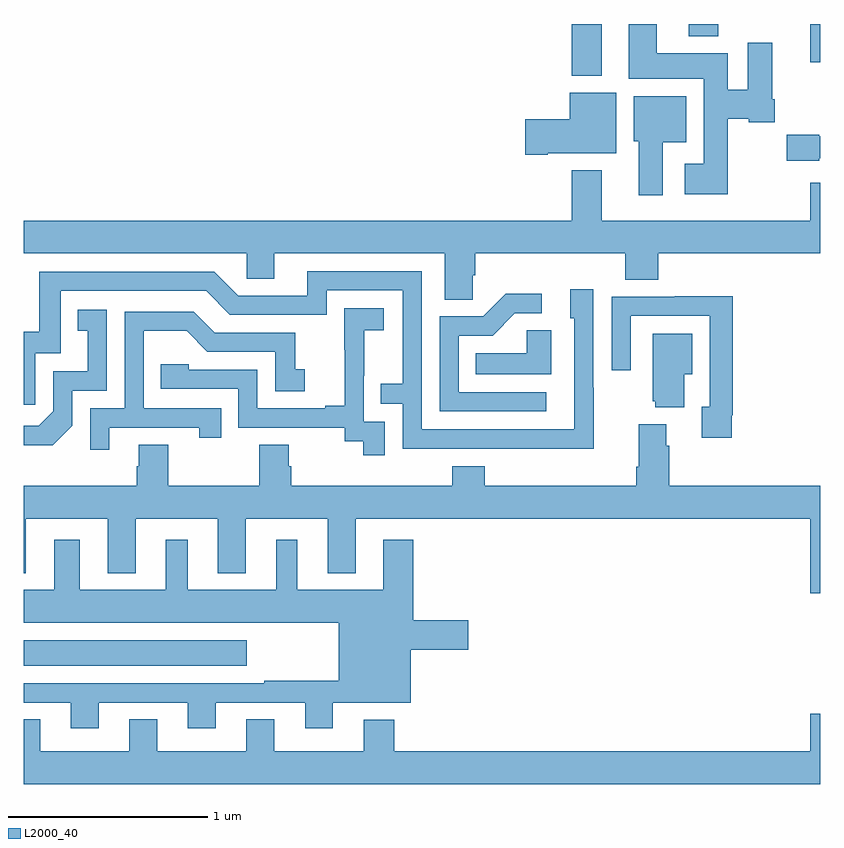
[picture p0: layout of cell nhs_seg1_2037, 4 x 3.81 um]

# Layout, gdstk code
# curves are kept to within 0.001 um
import gdstk
lib = gdstk.Library(unit=1e-6, precision=1e-09)
def R(c, l, rs):  # rectangles x0, y0, x1, y1
    for r in rs: c.add(gdstk.rectangle(r[:2], r[2:], *l))
def P(c, l, *ps):  # polygons
    for p in ps: c.add(gdstk.Polygon(p, *l))
L2000_40 = (2000, 40)

nhs_seg1_2037 = lib.new_cell('nhs_seg1_2037')
R(nhs_seg1_2037, L2000_40, [(221,566.978,222.121,567.106), (223.751,569.939,223.903,570.199), (224.948,570.006,225,570.199), (224.339,570.137,224.487,570.199)])
P(nhs_seg1_2037, L2000_40, [(224.536,569.723),(224.64,569.723),(224.64,569.705),(224.771,569.705),(224.771,569.821),(224.758,569.821),(224.758,570.106),(224.636,570.106),(224.636,569.87),(224.536,569.87),(224.536,570.052),(224.179,570.052),(224.179,570.199),(224.039,570.199),(224.039,569.924),(224.414,569.924),(224.414,569.497),(224.319,569.497),(224.319,569.345),(224.536,569.345)],
  [(223.63,569.549),(223.975,569.549),(223.975,569.854),(223.742,569.854),(223.742,569.72),(223.518,569.72),(223.518,569.542),(223.63,569.542)],
  [(224.209,569.606),(224.326,569.606),(224.326,569.836),(224.063,569.836),(224.063,569.61),(224.087,569.61),(224.087,569.34),(224.209,569.34)],
  [(224.994,569.526),(225,569.526),(225,569.635),(224.994,569.635),(224.994,569.643),(224.832,569.643),(224.832,569.513),(224.994,569.513)],
  [(223.254,568.939),(223.268,568.939),(223.268,569.048),(224.021,569.048),(224.021,568.915),(224.186,568.915),(224.186,569.048),(225,569.048),(225,569.401),(224.948,569.401),(224.948,569.212),(223.903,569.212),(223.903,569.464),(223.751,569.464),(223.751,569.212),(221,569.212),(221,569.048),(222.12,569.048),(222.12,568.921),(222.259,568.921),(222.259,569.048),(223.115,569.048),(223.115,568.816),(223.254,568.816)],
  [(223.863,568.373),(223.86,568.373),(223.86,568.867),(223.745,568.867),(223.745,568.722),(223.764,568.722),(223.764,568.164),(222.999,568.164),(222.999,568.959),(222.425,568.959),(222.425,568.836),(222.078,568.836),(221.958,568.956),(221.079,568.956),(221.079,568.654),(221,568.654),(221,568.287),(221.058,568.287),(221.058,568.545),(221.187,568.545),(221.187,568.86),(221.916,568.86),(222.036,568.74),(222.522,568.74),(222.522,568.863),(222.903,568.863),(222.903,568.394),(222.793,568.394),(222.793,568.293),(222.903,568.293),(222.903,568.068),(223.863,568.067)],
  [(223.624,568.35),(223.185,568.35),(223.185,568.635),(223.354,568.635),(223.465,568.746),(223.6,568.746),(223.6,568.844),(223.421,568.844),(223.308,568.731),(223.089,568.731),(223.089,568.254),(223.624,568.254)],
  [(224.554,568.234),(224.561,568.234),(224.561,568.832),(224.269,568.832),(224.269,568.83),(223.953,568.83),(223.953,568.461),(224.049,568.461),(224.049,568.734),(224.445,568.734),(224.445,568.278),(224.405,568.278),(224.405,568.122),(224.554,568.122)],
  [(222.813,568.203),(222.708,568.203),(222.708,568.433),(222.71,568.433),(222.71,568.661),(222.808,568.661),(222.808,568.771),(222.61,568.771),(222.61,568.565),(222.611,568.565),(222.611,568.282),(222.515,568.282),(222.515,568.269),(222.174,568.269),(222.174,568.464),(221.829,568.464),(221.829,568.491),(221.689,568.491),(221.689,568.368),(222.078,568.368),(222.078,568.173),(222.612,568.173),(222.612,568.105),(222.705,568.105),(222.705,568.035),(222.813,568.035)],
  [(221.244,568.182),(221.244,568.359),(221.418,568.359),(221.418,568.765),(221.272,568.765),(221.272,568.659),(221.321,568.659),(221.321,568.455),(221.148,568.455),(221.148,568.254),(221.076,568.182),(221,568.182),(221,568.085),(221.146,568.085)],
  [(221.431,568.173),(221.882,568.173),(221.882,568.122),(221.993,568.122),(221.993,568.269),(221.604,568.269),(221.604,568.658),(221.818,568.658),(221.922,568.554),(222.264,568.554),(222.264,568.356),(222.412,568.356),(222.412,568.465),(222.363,568.465),(222.363,568.65),(221.959,568.65),(221.854,568.755),(221.508,568.755),(221.508,568.269),(221.334,568.269),(221.334,568.062),(221.431,568.062)],
  [(223.648,568.661),(223.527,568.661),(223.527,568.546),(223.27,568.546),(223.27,568.442),(223.648,568.442)],
  [(224.317,568.442),(224.356,568.442),(224.356,568.645),(224.159,568.645),(224.159,568.305),(224.171,568.305),(224.171,568.274),(224.317,568.274)],
  [(222.344,567.978),(222.331,567.978),(222.331,568.088),(222.184,568.088),(222.184,567.88),(221.727,567.88),(221.727,568.088),(221.579,568.088),(221.579,567.978),(221.567,567.978),(221.567,567.88),(221,567.88),(221,567.443),(221.011,567.443),(221.011,567.716),(221.423,567.716),(221.423,567.443),(221.563,567.443),(221.563,567.716),(221.975,567.716),(221.975,567.443),(222.115,567.443),(222.115,567.716),(222.527,567.716),(222.527,567.443),(222.667,567.443),(222.667,567.716),(224.948,567.716),(224.948,567.342),(225,567.342),(225,567.88),(224.24,567.88),(224.24,568.082),(224.227,568.082),(224.227,568.189),(224.087,568.189),(224.087,567.976),(224.075,567.976),(224.075,567.88),(223.316,567.88),(223.316,567.979),(223.151,567.979),(223.151,567.88),(222.344,567.88)],
  [(221.377,566.793),(221.825,566.793),(221.825,566.664),(221.965,566.664),(221.965,566.793),(222.413,566.793),(222.413,566.664),(222.553,566.664),(222.553,566.792),(222.943,566.792),(222.943,567.059),(223.231,567.059),(223.231,567.206),(222.956,567.206),(222.956,567.61),(222.806,567.61),(222.806,567.358),(222.373,567.358),(222.373,567.61),(222.269,567.61),(222.269,567.358),(221.824,567.358),(221.824,567.61),(221.714,567.61),(221.714,567.358),(221.281,567.358),(221.281,567.61),(221.153,567.61),(221.153,567.358),(221,567.358),(221,567.194),(222.581,567.194),(222.581,566.902),(222.208,566.902),(222.208,566.889),(221,566.889),(221,566.793),(221.237,566.793),(221.237,566.664),(221.377,566.664)],
  [(225,566.737),(224.948,566.737),(224.948,566.548),(222.86,566.548),(222.86,566.707),(222.707,566.707),(222.707,566.548),(222.259,566.548),(222.259,566.708),(222.119,566.708),(222.119,566.548),(221.671,566.548),(221.671,566.708),(221.531,566.708),(221.531,566.548),(221.083,566.548),(221.083,566.708),(221,566.708),(221,566.384),(225,566.384)])

lib.write_gds('nhs_seg1_2037.gds')
